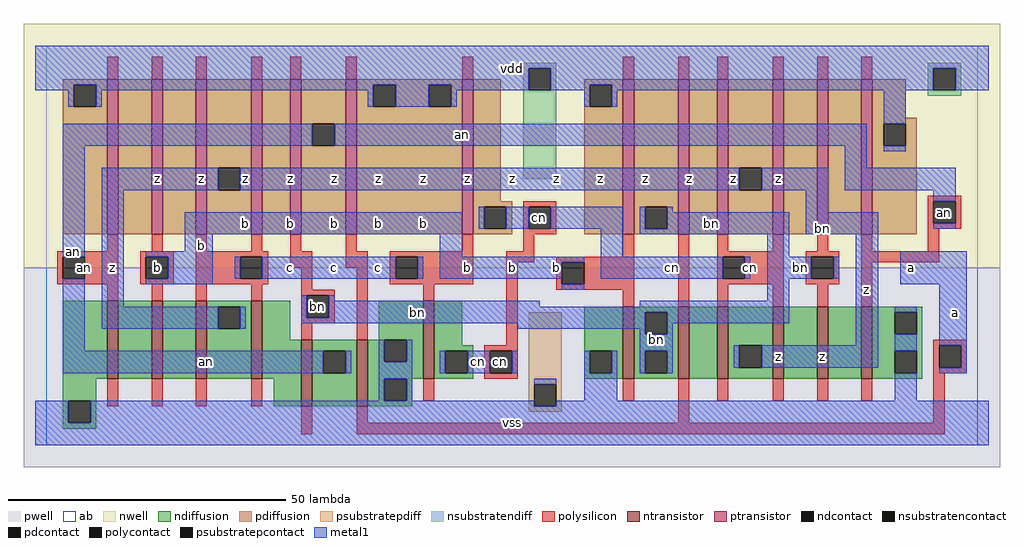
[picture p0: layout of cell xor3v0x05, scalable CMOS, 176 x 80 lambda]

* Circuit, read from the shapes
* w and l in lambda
.subckt xor3v0x05 a an b bn c cn vdd vss z
M1 n1 an vss vss nfet w=14 l=2
M2 n2 b n1 vss nfet w=14 l=2
M3 z c n2 vss nfet w=14 l=2
M4 n3 c z vss nfet w=14 l=2
M5 an bn n3 vss nfet w=12 l=2
M6 vss a an vss nfet w=12 l=2
M7 cn c vss vss nfet w=14 l=2
M8 bn b vss vss nfet w=13 l=2
M9 n4 a bn vss nfet w=13 l=2
M10 z cn n4 vss nfet w=13 l=2
M11 n5 cn z vss nfet w=13 l=2
M12 n6 bn n5 vss nfet w=13 l=2
M13 vss an n6 vss nfet w=13 l=2
M14 n7 an vdd vdd pfet w=28 l=2
M15 n8 b n7 vdd pfet w=28 l=2
M16 z c n8 vdd pfet w=28 l=2
M17 n9 c z vdd pfet w=28 l=2
M18 an bn n9 vdd pfet w=28 l=2
M19 vdd a an vdd pfet w=28 l=2
M20 cn c vdd vdd pfet w=28 l=2
M21 bn b vdd vdd pfet w=28 l=2
M22 n10 a bn vdd pfet w=28 l=2
M23 z cn n10 vdd pfet w=28 l=2
M24 n11 cn z vdd pfet w=28 l=2
M25 n12 bn n11 vdd pfet w=28 l=2
M26 vdd an n12 vdd pfet w=28 l=2
.ends

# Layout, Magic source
magic
tech scmos
<< ab >>
rect 0 0 168 72
<< pwell >>
rect -4 -4 172 32
<< nwell >>
rect -4 32 172 76
<< polysilicon >>
rect 11 66 13 70
rect 19 66 21 70
rect 27 66 29 70
rect 37 66 39 70
rect 44 66 46 70
rect 54 66 56 70
rect 75 66 77 70
rect 104 66 106 70
rect 114 66 116 70
rect 121 66 123 70
rect 131 66 133 70
rect 139 66 141 70
rect 147 66 149 70
rect 86 43 92 44
rect 86 39 87 43
rect 91 39 92 43
rect 86 38 92 39
rect 159 44 165 45
rect 159 40 160 44
rect 164 40 165 44
rect 159 39 165 40
rect 11 35 13 38
rect 19 35 21 38
rect 27 35 29 38
rect 37 35 39 38
rect 44 35 46 38
rect 54 35 56 38
rect 75 35 77 38
rect 86 35 88 38
rect 2 34 13 35
rect 2 30 3 34
rect 7 30 13 34
rect 2 29 13 30
rect 17 34 23 35
rect 17 30 18 34
rect 22 30 23 34
rect 17 29 23 30
rect 27 34 40 35
rect 27 30 35 34
rect 39 30 40 34
rect 44 32 48 35
rect 54 32 58 35
rect 27 29 40 30
rect 11 26 13 29
rect 19 26 21 29
rect 27 26 29 29
rect 37 26 39 29
rect 46 28 48 32
rect 46 27 52 28
rect 46 23 47 27
rect 51 23 52 27
rect 46 22 52 23
rect 46 19 48 22
rect 56 19 58 32
rect 62 34 77 35
rect 62 30 63 34
rect 67 30 77 34
rect 62 29 77 30
rect 83 33 88 35
rect 104 34 106 38
rect 92 33 106 34
rect 68 26 70 29
rect 11 7 13 12
rect 19 7 21 12
rect 27 7 29 12
rect 37 7 39 12
rect 83 18 85 33
rect 92 29 93 33
rect 97 29 106 33
rect 92 28 106 29
rect 104 25 106 28
rect 114 25 116 38
rect 121 35 123 38
rect 131 35 133 38
rect 139 35 141 38
rect 147 35 149 38
rect 159 35 161 39
rect 121 34 133 35
rect 121 30 122 34
rect 126 30 133 34
rect 121 29 133 30
rect 137 34 143 35
rect 137 30 138 34
rect 142 30 143 34
rect 137 29 143 30
rect 147 33 161 35
rect 121 25 123 29
rect 131 25 133 29
rect 139 25 141 29
rect 147 25 149 33
rect 79 17 85 18
rect 79 13 80 17
rect 84 13 85 17
rect 79 12 85 13
rect 68 8 70 12
rect 160 18 166 19
rect 160 14 161 18
rect 165 14 166 18
rect 160 13 166 14
rect 104 8 106 12
rect 46 2 48 7
rect 56 4 58 7
rect 114 4 116 12
rect 121 8 123 12
rect 131 8 133 12
rect 139 8 141 12
rect 147 8 149 12
rect 160 4 162 13
rect 56 2 162 4
<< ndiffusion >>
rect 3 12 11 26
rect 13 12 19 26
rect 21 12 27 26
rect 29 25 37 26
rect 29 21 31 25
rect 35 21 37 25
rect 29 12 37 21
rect 39 19 44 26
rect 60 19 68 26
rect 39 12 46 19
rect 3 8 9 12
rect 3 4 4 8
rect 8 4 9 8
rect 41 7 46 12
rect 48 17 56 19
rect 48 13 50 17
rect 54 13 56 17
rect 48 7 56 13
rect 58 15 61 19
rect 65 15 68 19
rect 58 12 68 15
rect 70 18 75 26
rect 70 17 77 18
rect 70 13 72 17
rect 76 13 77 17
rect 70 12 77 13
rect 58 8 61 12
rect 65 8 66 12
rect 97 17 104 25
rect 97 13 98 17
rect 102 13 104 17
rect 97 12 104 13
rect 106 24 114 25
rect 106 20 108 24
rect 112 20 114 24
rect 106 17 114 20
rect 106 13 108 17
rect 112 13 114 17
rect 106 12 114 13
rect 116 12 121 25
rect 123 18 131 25
rect 123 14 125 18
rect 129 14 131 18
rect 123 12 131 14
rect 133 12 139 25
rect 141 12 147 25
rect 149 24 158 25
rect 149 20 153 24
rect 157 20 158 24
rect 149 17 158 20
rect 149 13 153 17
rect 157 13 158 17
rect 149 12 158 13
rect 58 7 66 8
rect 3 3 9 4
<< pdiffusion >>
rect 3 65 11 66
rect 3 61 5 65
rect 9 61 11 65
rect 3 38 11 61
rect 13 38 19 66
rect 21 38 27 66
rect 29 50 37 66
rect 29 46 31 50
rect 35 46 37 50
rect 29 38 37 46
rect 39 38 44 66
rect 46 58 54 66
rect 46 54 48 58
rect 52 54 54 58
rect 46 38 54 54
rect 56 65 75 66
rect 56 61 59 65
rect 63 61 69 65
rect 73 61 75 65
rect 56 38 75 61
rect 77 44 82 66
rect 97 65 104 66
rect 97 61 98 65
rect 102 61 104 65
rect 77 43 84 44
rect 77 39 79 43
rect 83 39 84 43
rect 77 38 84 39
rect 97 38 104 61
rect 106 43 114 66
rect 106 39 108 43
rect 112 39 114 43
rect 106 38 114 39
rect 116 38 121 66
rect 123 50 131 66
rect 123 46 125 50
rect 129 46 131 50
rect 123 38 131 46
rect 133 38 139 66
rect 141 38 147 66
rect 149 59 155 66
rect 149 58 157 59
rect 149 54 151 58
rect 155 54 157 58
rect 149 38 157 54
<< metal1 >>
rect -2 68 170 72
rect -2 65 87 68
rect -2 64 5 65
rect 4 61 5 64
rect 9 64 59 65
rect 9 61 10 64
rect 58 61 59 64
rect 63 61 69 65
rect 73 64 87 65
rect 91 65 160 68
rect 91 64 98 65
rect 73 61 74 64
rect 97 61 98 64
rect 102 64 160 65
rect 164 64 170 68
rect 102 61 103 64
rect 151 58 155 64
rect 3 54 48 58
rect 52 54 148 58
rect 3 34 7 54
rect 144 50 148 54
rect 151 53 155 54
rect 3 17 7 30
rect 10 46 31 50
rect 35 46 125 50
rect 129 46 141 50
rect 144 46 164 50
rect 10 25 14 46
rect 25 38 75 42
rect 78 39 79 43
rect 83 39 87 43
rect 91 39 104 43
rect 25 35 30 38
rect 18 34 30 35
rect 71 34 75 38
rect 100 34 104 39
rect 107 39 108 43
rect 112 42 113 43
rect 137 42 141 46
rect 160 44 164 46
rect 112 39 134 42
rect 107 38 134 39
rect 137 38 150 42
rect 160 39 164 40
rect 130 34 134 38
rect 22 30 30 34
rect 34 30 35 34
rect 39 30 63 34
rect 67 30 68 34
rect 71 33 97 34
rect 71 30 93 33
rect 18 29 30 30
rect 100 30 122 34
rect 126 30 127 34
rect 130 30 138 34
rect 142 30 143 34
rect 93 28 97 29
rect 10 21 31 25
rect 35 21 36 25
rect 46 23 47 27
rect 51 26 52 27
rect 130 26 134 30
rect 51 25 89 26
rect 107 25 134 26
rect 51 24 134 25
rect 51 23 108 24
rect 46 22 108 23
rect 85 21 108 22
rect 107 20 108 21
rect 112 22 134 24
rect 112 20 113 22
rect 3 13 50 17
rect 54 13 55 17
rect 60 15 61 19
rect 65 15 66 19
rect 107 17 113 20
rect 146 18 150 38
rect 154 29 166 35
rect 60 12 66 15
rect 71 13 72 17
rect 76 13 80 17
rect 84 13 85 17
rect 97 13 98 17
rect 102 13 103 17
rect 107 13 108 17
rect 112 13 113 17
rect 124 14 125 18
rect 129 14 150 18
rect 153 24 157 25
rect 153 17 157 20
rect 161 18 166 29
rect 165 14 166 18
rect 161 13 166 14
rect 60 8 61 12
rect 65 8 66 12
rect 88 11 92 12
rect -2 4 4 8
rect 8 7 88 8
rect 97 8 103 13
rect 153 8 157 13
rect 92 7 170 8
rect 8 4 170 7
rect -2 0 170 4
<< ntransistor >>
rect 11 12 13 26
rect 19 12 21 26
rect 27 12 29 26
rect 37 12 39 26
rect 46 7 48 19
rect 56 7 58 19
rect 68 12 70 26
rect 104 12 106 25
rect 114 12 116 25
rect 121 12 123 25
rect 131 12 133 25
rect 139 12 141 25
rect 147 12 149 25
<< ptransistor >>
rect 11 38 13 66
rect 19 38 21 66
rect 27 38 29 66
rect 37 38 39 66
rect 44 38 46 66
rect 54 38 56 66
rect 75 38 77 66
rect 104 38 106 66
rect 114 38 116 66
rect 121 38 123 66
rect 131 38 133 66
rect 139 38 141 66
rect 147 38 149 66
<< polycontact >>
rect 87 39 91 43
rect 160 40 164 44
rect 3 30 7 34
rect 18 30 22 34
rect 35 30 39 34
rect 47 23 51 27
rect 63 30 67 34
rect 93 29 97 33
rect 122 30 126 34
rect 138 30 142 34
rect 80 13 84 17
rect 161 14 165 18
<< ndcontact >>
rect 31 21 35 25
rect 4 4 8 8
rect 50 13 54 17
rect 61 15 65 19
rect 72 13 76 17
rect 61 8 65 12
rect 98 13 102 17
rect 108 20 112 24
rect 108 13 112 17
rect 125 14 129 18
rect 153 20 157 24
rect 153 13 157 17
<< pdcontact >>
rect 5 61 9 65
rect 31 46 35 50
rect 48 54 52 58
rect 59 61 63 65
rect 69 61 73 65
rect 98 61 102 65
rect 79 39 83 43
rect 108 39 112 43
rect 125 46 129 50
rect 151 54 155 58
<< psubstratepcontact >>
rect 88 7 92 11
<< nsubstratencontact >>
rect 87 64 91 68
rect 160 64 164 68
<< psubstratepdiff >>
rect 87 11 93 24
rect 87 7 88 11
rect 92 7 93 11
rect 87 6 93 7
<< nsubstratendiff >>
rect 86 68 92 69
rect 86 64 87 68
rect 91 64 92 68
rect 159 68 165 69
rect 86 48 92 64
rect 159 64 160 68
rect 164 64 165 68
rect 159 63 165 64
<< labels >>
rlabel polysilicon 7 32 7 32 6 an
rlabel polycontact 49 25 49 25 6 bn
rlabel polycontact 82 15 82 15 6 cn
rlabel polycontact 89 41 89 41 6 cn
rlabel polysilicon 127 32 127 32 6 cn
rlabel polycontact 162 42 162 42 6 an
rlabel ptransistor 140 39 140 39 6 bn
rlabel metal1 12 32 12 32 6 z
rlabel polycontact 20 32 20 32 6 b
rlabel metal1 28 36 28 36 6 b
rlabel metal1 20 48 20 48 6 z
rlabel metal1 28 48 28 48 6 z
rlabel metal1 5 35 5 35 6 an
rlabel metal1 29 15 29 15 6 an
rlabel metal1 44 32 44 32 6 c
rlabel metal1 52 32 52 32 6 c
rlabel metal1 60 32 60 32 6 c
rlabel metal1 36 40 36 40 6 b
rlabel metal1 44 40 44 40 6 b
rlabel metal1 52 40 52 40 6 b
rlabel metal1 60 40 60 40 6 b
rlabel metal1 36 48 36 48 6 z
rlabel metal1 44 48 44 48 6 z
rlabel metal1 52 48 52 48 6 z
rlabel metal1 60 48 60 48 6 z
rlabel metal1 84 4 84 4 6 vss
rlabel metal1 78 15 78 15 6 cn
rlabel metal1 67 24 67 24 6 bn
rlabel metal1 76 32 76 32 6 b
rlabel metal1 84 32 84 32 6 b
rlabel metal1 92 32 92 32 6 b
rlabel metal1 68 40 68 40 6 b
rlabel metal1 68 48 68 48 6 z
rlabel metal1 76 48 76 48 6 z
rlabel metal1 84 48 84 48 6 z
rlabel metal1 92 48 92 48 6 z
rlabel metal1 84 68 84 68 6 vdd
rlabel metal1 132 16 132 16 6 z
rlabel metal1 110 19 110 19 6 bn
rlabel metal1 113 32 113 32 6 cn
rlabel metal1 120 40 120 40 6 bn
rlabel metal1 91 41 91 41 6 cn
rlabel metal1 100 48 100 48 6 z
rlabel metal1 108 48 108 48 6 z
rlabel metal1 116 48 116 48 6 z
rlabel metal1 124 48 124 48 6 z
rlabel metal1 132 48 132 48 6 z
rlabel metal1 140 16 140 16 6 z
rlabel metal1 164 24 164 24 6 a
rlabel metal1 148 28 148 28 6 z
rlabel metal1 156 32 156 32 6 a
rlabel metal1 136 32 136 32 6 bn
rlabel metal1 140 40 140 40 6 z
rlabel metal1 162 44 162 44 6 an
rlabel metal1 75 56 75 56 6 an
<< end >>
